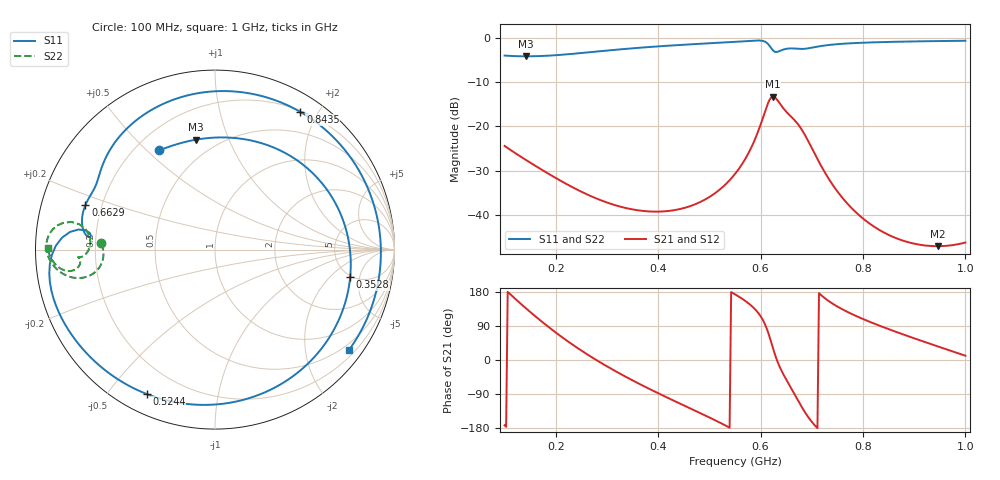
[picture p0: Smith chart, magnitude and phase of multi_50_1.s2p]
! Created with skrf (http://scikit-rf.org).
# MHz S RI R 376.73031366686166
!freq ReS11 ImS11 ReS21 ImS21 ReS12 ImS12 ReS22 ImS22
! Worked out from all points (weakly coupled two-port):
!   300 points, 100 MHz to 1 GHz, reference 376.73 ohm
!   highest |S21| = -13.26 dB at 623.7 MHz (marker M1); lowest = -47.1 dB at 945.8 MHz (marker M2)
!   lowest |S11| = -4.1 dB at 142.1 MHz (marker M3), VSWR 4.29, Z = 145 + j289 ohm
!   |S11| at or under -10 dB: nowhere
!   |S22| runs from -4.1 to -0.5 dB; largest |S21 - S12| = 6.7e-16
!   S11 on the Smith chart (normalised r, x): 100 MHz: 0.30, +0.55; 352.8 MHz: 4.85, -3.63; 524.4 MHz: 0.08, -0.63; 662.9 MHz: 0.14, +0.16; 843.5 MHz: 0.21, +1.78; 1 GHz: 0.35, -2.97
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100  -0.31 0.5529  -0.0595 -0.00795  -0.0595 -0.00795  -0.6329 0.0341
142.1405  -0.1062 0.6125  -0.0297 0.0289  -0.0297 0.0289  -0.6213 -0.0191
250.5017  0.4695 0.4889  0.0165 0.00748  0.0165 0.00748  -0.6664 -0.1241
307.6923  0.7058 0.1837  0.0122 -0.00512  0.0122 -0.00512  -0.7135 -0.1509
352.8428  0.7531 -0.1531  0.00639 -0.00942  0.00639 -0.00942  -0.752 -0.1583
401.0033  0.6178 -0.5184  0.000301 -0.0108  0.000301 -0.0108  -0.7912 -0.1558
467.2241  0.1482 -0.8394  -0.00833 -0.00969  -0.00833 -0.00969  -0.8412 -0.138
524.4147  -0.3814 -0.8042  -0.0197 -0.00422  -0.0197 -0.00422  -0.8836 -0.1069
551.505  -0.6175 -0.6678  -0.0294 0.00404  -0.0294 0.00404  -0.9059 -0.0813
599.6656  -0.9196 -0.1831  -0.0457 0.0928  -0.0457 0.0928  -0.9363 0.0506
614.7157  -0.8523 0.0665  0.0547 0.1763  0.0547 0.1763  -0.8415 0.1505
623.7458  -0.7215 0.1074  0.1818 0.119  0.1818 0.119  -0.7206 0.1134
638.796  -0.7162 0.0781  0.1636 -0.0678  0.1636 -0.0678  -0.72 -0.0248
662.8763  -0.7223 0.2473  0.0173 -0.1221  0.0173 -0.1221  -0.7623 -0.0423
702.0067  -0.6277 0.4673  -0.0523 -0.0126  -0.0523 -0.0126  -0.775 -0.1085
735.1171  -0.4728 0.6915  -0.0218 0.0108  -0.0218 0.0108  -0.8294 -0.1178
777.2575  -0.1304 0.8645  -0.00631 0.0101  -0.00631 0.0101  -0.8685 -0.1003
843.4783  0.476 0.7669  0.000561 0.00614  0.000561 0.00614  -0.9 -0.0685
852.5084  0.5488 0.72  0.000986 0.00572  0.000986 0.00572  -0.903 -0.0643
900.6689  0.8412 0.3651  0.00256 0.00392  0.00256 0.00392  -0.9161 -0.0417
945.8194  0.9231 -0.063  0.00356 0.00258  0.00356 0.00258  -0.925 -0.0204
1000  0.7469 -0.5587  0.00474 0.000946  0.00474 0.000946  -0.9327 0.00646
